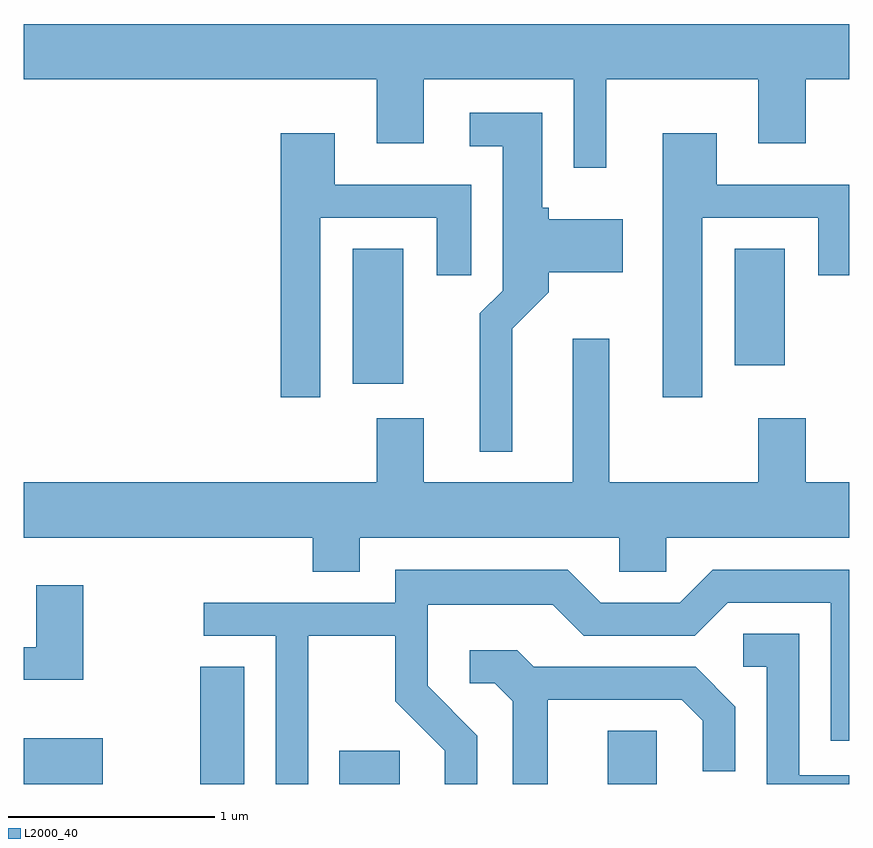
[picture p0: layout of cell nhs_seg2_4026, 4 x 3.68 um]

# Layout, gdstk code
import gdstk
lib = gdstk.Library(unit=1e-6, precision=1e-09)
def R(c, l, rs):  # rectangles x0, y0, x1, y1
    for r in rs: c.add(gdstk.rectangle(r[:2], r[2:], *l))
def P(c, l, *ps):  # polygons
    for p in ps: c.add(gdstk.Polygon(p, *l))
L2000_40 = (2000, 40)

nhs_seg2_4026 = lib.new_cell('nhs_seg2_4026')
R(nhs_seg2_4026, L2000_40, [(303.611,1033.802,303.994,1034.024), (304.466,1033.802,304.679,1034.369), (305.141,1033.802,305.434,1033.964), (306.441,1033.802,306.679,1034.059), (305.206,1035.741,305.449,1036.394), (307.056,1035.831,307.299,1036.394)])
P(nhs_seg2_4026, L2000_40, [(306.434,1037.216),(307.171,1037.216),(307.171,1036.906),(307.399,1036.906),(307.399,1037.216),(307.611,1037.216),(307.611,1037.484),(303.611,1037.484),(303.611,1037.216),(305.321,1037.216),(305.321,1036.906),(305.549,1036.906),(305.549,1037.216),(306.276,1037.216),(306.276,1036.787),(306.434,1036.787)],
  [(305.979,1036.008),(306.154,1036.184),(306.154,1036.281),(306.514,1036.281),(306.514,1036.539),(306.154,1036.539),(306.154,1036.594),(306.124,1036.594),(306.124,1037.054),(305.773,1037.054),(305.773,1036.891),(305.931,1036.891),(305.931,1036.192),(305.821,1036.082),(305.821,1035.412),(305.979,1035.412)],
  [(306.899,1036.546),(307.461,1036.546),(307.461,1036.267),(307.611,1036.267),(307.611,1036.704),(306.969,1036.704),(306.969,1036.954),(306.706,1036.954),(306.706,1035.676),(306.899,1035.676)],
  [(305.049,1036.546),(305.611,1036.546),(305.611,1036.267),(305.779,1036.267),(305.779,1036.704),(305.119,1036.704),(305.119,1036.954),(304.856,1036.954),(304.856,1035.676),(305.049,1035.676)],
  [(305.239,1034.996),(306.496,1034.996),(306.496,1034.831),(306.724,1034.831),(306.724,1034.996),(307.611,1034.996),(307.611,1035.264),(307.399,1035.264),(307.399,1035.574),(307.171,1035.574),(307.171,1035.264),(306.449,1035.264),(306.449,1035.959),(306.271,1035.959),(306.271,1035.264),(305.549,1035.264),(305.549,1035.574),(305.321,1035.574),(305.321,1035.264),(303.611,1035.264),(303.611,1034.996),(305.011,1034.996),(305.011,1034.831),(305.239,1034.831)],
  [(304.989,1034.521),(305.411,1034.521),(305.411,1034.204),(305.651,1033.964),(305.651,1033.802),(305.809,1033.802),(305.809,1034.036),(305.569,1034.277),(305.569,1034.671),(306.174,1034.671),(306.324,1034.521),(306.862,1034.521),(307.022,1034.681),(307.521,1034.681),(307.521,1034.011),(307.611,1034.011),(307.611,1034.839),(306.949,1034.839),(306.789,1034.679),(306.407,1034.679),(306.247,1034.839),(305.411,1034.839),(305.411,1034.679),(304.483,1034.679),(304.483,1034.521),(304.831,1034.521),(304.831,1033.802),(304.989,1033.802)],
  [(303.899,1034.764),(303.671,1034.764),(303.671,1034.464),(303.611,1034.464),(303.611,1034.306),(303.899,1034.306)],
  [(307.611,1033.844),(307.369,1033.844),(307.369,1034.529),(307.098,1034.529),(307.098,1034.371),(307.211,1034.371),(307.211,1033.802),(307.611,1033.802)],
  [(306.149,1034.211),(306.799,1034.211),(306.901,1034.109),(306.901,1033.863),(307.059,1033.863),(307.059,1034.177),(306.867,1034.369),(306.082,1034.369),(306.002,1034.449),(305.773,1034.449),(305.773,1034.291),(305.894,1034.291),(305.981,1034.204),(305.981,1033.802),(306.149,1033.802)])

lib.write_gds('nhs_seg2_4026.gds')
